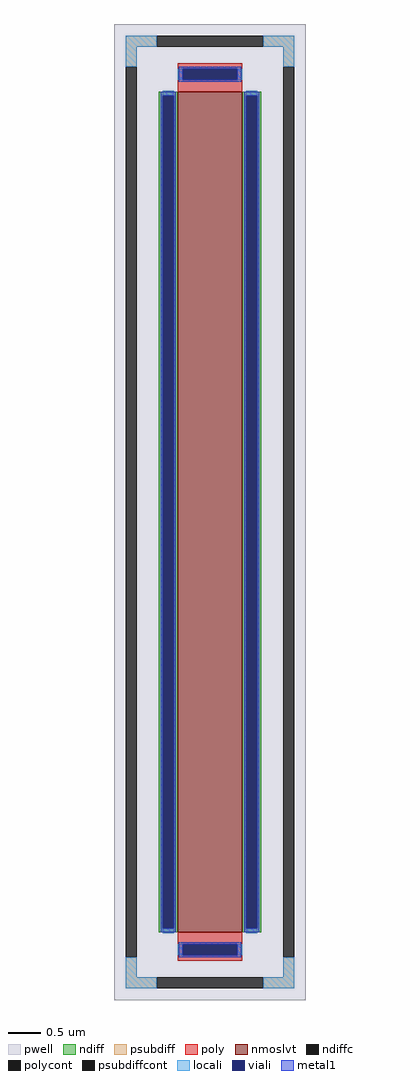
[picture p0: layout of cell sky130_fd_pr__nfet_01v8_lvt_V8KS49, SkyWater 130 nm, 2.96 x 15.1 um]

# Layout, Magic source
magic
tech sky130A
<< pwell >>
rect -148 -755 148 755
<< nmoslvt >>
rect -50 -650 50 650
<< ndiff >>
rect -79 644 -50 650
rect -79 -644 -73 644
rect -56 -644 -50 644
rect -79 -650 -50 -644
rect 50 644 79 650
rect 50 -644 56 644
rect 73 -644 79 644
rect 50 -650 79 -644
<< ndiffc >>
rect -73 -644 -56 644
rect 56 -644 73 644
<< psubdiff >>
rect -130 720 -82 737
rect 82 720 130 737
rect -130 689 -113 720
rect 113 689 130 720
rect -130 -720 -113 -689
rect 113 -720 130 -689
rect -130 -737 -82 -720
rect 82 -737 130 -720
<< psubdiffcont >>
rect -82 720 82 737
rect -130 -689 -113 689
rect 113 -689 130 689
rect -82 -737 82 -720
<< poly >>
rect -50 686 50 694
rect -50 669 -42 686
rect 42 669 50 686
rect -50 650 50 669
rect -50 -669 50 -650
rect -50 -686 -42 -669
rect 42 -686 50 -669
rect -50 -694 50 -686
<< polycont >>
rect -42 669 42 686
rect -42 -686 42 -669
<< locali >>
rect -130 720 -82 737
rect 82 720 130 737
rect -130 689 -113 720
rect 113 689 130 720
rect -50 669 -42 686
rect 42 669 50 686
rect -73 644 -56 652
rect -73 -652 -56 -644
rect 56 644 73 652
rect 56 -652 73 -644
rect -50 -686 -42 -669
rect 42 -686 50 -669
rect -130 -720 -113 -689
rect 113 -720 130 -689
rect -130 -737 -82 -720
rect 82 -737 130 -720
<< viali >>
rect -42 669 42 686
rect -73 -644 -56 644
rect 56 -644 73 644
rect -42 -686 42 -669
<< metal1 >>
rect -48 686 48 689
rect -48 669 -42 686
rect 42 669 48 686
rect -48 666 48 669
rect -76 644 -53 650
rect -76 -644 -73 644
rect -56 -644 -53 644
rect -76 -650 -53 -644
rect 53 644 76 650
rect 53 -644 56 644
rect 73 -644 76 644
rect 53 -650 76 -644
rect -48 -669 48 -666
rect -48 -686 -42 -669
rect 42 -686 48 -669
rect -48 -689 48 -686
<< properties >>
string FIXED_BBOX -121 -728 121 728
string gencell sky130_fd_pr__nfet_01v8_lvt
string library sky130
string parameters w 13.0 l 1.0 m 1 nf 1 diffcov 100 polycov 100 guard 1 glc 1 grc 1 gtc 1 gbc 1 tbcov 100 rlcov 100 topc 1 botc 1 poverlap 1 doverlap 1 lmin 0.15 wmin 0.42 class mosfet compatible {sky130_fd_pr__nfet_01v8 sky130_fd_pr__nfet_01v8_lvt  sky130_fd_bs_flash__special_sonosfet_star  sky130_fd_pr__nfet_g5v0d10v5 sky130_fd_pr__nfet_05v0_nvt  sky130_fd_pr__nfet_03v3_nvt} full_metal 1 viasrc 100 viadrn 100 viagate 100 viagb 0 viagr 0 viagl 0 viagt 0
<< end >>
